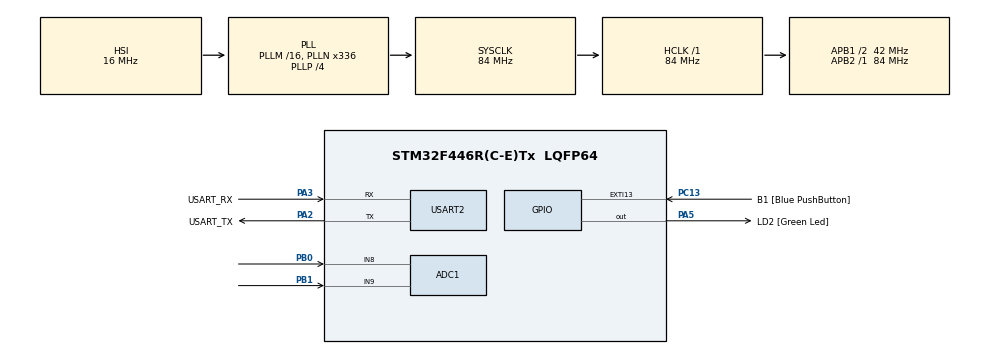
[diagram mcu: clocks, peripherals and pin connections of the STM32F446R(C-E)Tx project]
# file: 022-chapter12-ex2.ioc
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ADC1.Channel-0\#ChannelRegularConversion=ADC_CHANNEL_8
ADC1.NbrOfConversionFlag=1
ADC1.Rank-0\#ChannelRegularConversion=1
ADC1.SamplingTime-0\#ChannelRegularConversion=ADC_SAMPLETIME_3CYCLES
ADC1.master=1
Mcu.Family=STM32F4
Mcu.Name=STM32F446R(C-E)Tx
Mcu.Package=LQFP64
NVIC.PriorityGroup=NVIC_PRIORITYGROUP_0
PA13.GPIO_Label=TMS
PA13.Mode=Serial_Wire
PA13.Signal=SYS_JTMS-SWDIO
PA14.GPIO_Label=TCK
PA14.Mode=Serial_Wire
PA14.Signal=SYS_JTCK-SWCLK
PA2.GPIO_Label=USART_TX
PA2.Mode=Asynchronous
PA2.Signal=USART2_TX
PA3.GPIO_Label=USART_RX
PA3.Mode=Asynchronous
PA3.Signal=USART2_RX
PA5.GPIO_Label=LD2 [Green Led]
PA5.Signal=GPIO_Output
PB0.Signal=ADCx_IN8
PB1.Signal=ADCx_IN9
PB3.GPIO_Label=SWO
PB3.Signal=SYS_JTDO-SWO
PC13.GPIO_Label=B1 [Blue PushButton]
PC13.GPIO_ModeDefaultEXTI=GPIO_MODE_IT_FALLING
PC13.Signal=GPXTI13
PC14-OSC32_IN.Mode=LSE-External-Oscillator
PC14-OSC32_IN.Signal=RCC_OSC32_IN
PC15-OSC32_OUT.Mode=LSE-External-Oscillator
PC15-OSC32_OUT.Signal=RCC_OSC32_OUT
PH0-OSC_IN.Mode=HSE-External-Oscillator
PH0-OSC_IN.Signal=RCC_OSC_IN
PH1-OSC_OUT.Mode=HSE-External-Oscillator
PH1-OSC_OUT.Signal=RCC_OSC_OUT
ProjectManager.HeapSize=0x200
ProjectManager.StackSize=0x400
ProjectManager.TargetToolchain=STM32CubeIDE
RCC.48MHZClocksFreq_Value=84000000
RCC.AHBFreq_Value=84000000
RCC.APB1CLKDivider=RCC_HCLK_DIV2
RCC.APB1Freq_Value=42000000
RCC.APB1TimFreq_Value=84000000
RCC.APB2Freq_Value=84000000
RCC.APB2TimFreq_Value=84000000
RCC.CortexFreq_Value=84000000
RCC.FLatency-AdvancedSettings=FLASH_LATENCY_2
RCC.HCLKFreq_Value=84000000
RCC.HSE_VALUE=8000000
RCC.HSI_VALUE=16000000
RCC.PLLN=336
RCC.PLLP=RCC_PLLP_DIV4
RCC.SYSCLKFreq_VALUE=84000000
RCC.SYSCLKSource=RCC_SYSCLKSOURCE_PLLCLK
RCC.USBFreq_Value=168000000
RCC.VCOOutputFreq_Value=336000000
SH.ADCx_IN8.0=ADC1_IN8,IN8
SH.ADCx_IN9.0=ADC1_IN9,IN9
USART2.VirtualMode=VM_ASYNC
VP_ADC1_TempSens_Input.Mode=IN-TempSens
board=NUCLEO-F446RE

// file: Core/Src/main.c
/* USER CODE BEGIN Header */
/**
 ******************************************************************************
 * @file           : main.c
 * @brief          : Main program body
 ******************************************************************************
 * @attention
 *
 * Copyright (c) 2023 STMicroelectronics.
 * All rights reserved.
 *
 * This software is licensed under terms that can be found in the LICENSE file
 * in the root directory of this software component.
 * If no LICENSE file comes with this software, it is provided AS-IS.
 *
 ******************************************************************************
 */
/* USER CODE END Header */
#include "main.h"
#include <stdio.h>
#include <string.h>

ADC_HandleTypeDef hadc1;

UART_HandleTypeDef huart2;

/* USER CODE BEGIN PV */
DMA_HandleTypeDef hdma_adc1;
char msg[30];
uint16_t rawValues[3];
float temp;
volatile uint8_t convCompleted = 0;
/* USER CODE END PV */

void SystemClock_Config(void);
static void MX_GPIO_Init(void);
static void MX_USART2_UART_Init(void);
static void MX_ADC1_Init(void);

/* USER CODE BEGIN PFP */
static void MX_DMA_Init(void);
/* USER CODE END PFP */

int main(void)
{

  /* MCU Configuration--------------------------------------------------------*/

  /* Reset of all peripherals, Initializes the Flash interface and the Systick. */
  HAL_Init();

  /* Configure the system clock */
  SystemClock_Config();

  /* Initialize all configured peripherals */
  MX_DMA_Init();
  MX_GPIO_Init();
  MX_USART2_UART_Init();
  MX_ADC1_Init();
  /* USER CODE BEGIN 2 */
  HAL_ADC_Start_DMA(&hadc1, (uint32_t *)rawValues, 3);

  while (!convCompleted)
    ;

  HAL_ADC_Stop_DMA(&hadc1);

  for (uint8_t i = 0; i < hadc1.Init.NbrOfConversion; i++)
  {
    temp = ((float)rawValues[i]) / 4095 * 3300;
    temp = ((temp - 760.0) / 2.5) + 25;

    sprintf(msg, "rawValue %d: %hu\r\n", i, rawValues[i]);
    HAL_UART_Transmit(&huart2, (uint8_t *)msg, strlen(msg), HAL_MAX_DELAY);

    sprintf(msg, "Temperature %d: %f\r\n", i, temp);
    HAL_UART_Transmit(&huart2, (uint8_t *)msg, strlen(msg), HAL_MAX_DELAY);
  }
  /* USER CODE END 2 */

  /* Infinite loop */
  while (1)
  {

  }
}

void SystemClock_Config(void)
{
  RCC_OscInitTypeDef RCC_OscInitStruct = {0};
  RCC_ClkInitTypeDef RCC_ClkInitStruct = {0};

  /** Configure the main internal regulator output voltage
   */
  __HAL_RCC_PWR_CLK_ENABLE();
  __HAL_PWR_VOLTAGESCALING_CONFIG(PWR_REGULATOR_VOLTAGE_SCALE3);

  /** Initializes the RCC Oscillators according to the specified parameters
   * in the RCC_OscInitTypeDef structure.
   */
  RCC_OscInitStruct.OscillatorType = RCC_OSCILLATORTYPE_HSI;
  RCC_OscInitStruct.HSIState = RCC_HSI_ON;
  RCC_OscInitStruct.HSICalibrationValue = RCC_HSICALIBRATION_DEFAULT;
  RCC_OscInitStruct.PLL.PLLState = RCC_PLL_ON;
  RCC_OscInitStruct.PLL.PLLSource = RCC_PLLSOURCE_HSI;
  RCC_OscInitStruct.PLL.PLLM = 16;
  RCC_OscInitStruct.PLL.PLLN = 336;
  RCC_OscInitStruct.PLL.PLLP = RCC_PLLP_DIV4;
  RCC_OscInitStruct.PLL.PLLQ = 2;
  RCC_OscInitStruct.PLL.PLLR = 2;
  if (HAL_RCC_OscConfig(&RCC_OscInitStruct) != HAL_OK)
  {
    Error_Handler();
  }

  /** Initializes the CPU, AHB and APB buses clocks
   */
  RCC_ClkInitStruct.ClockType = RCC_CLOCKTYPE_HCLK | RCC_CLOCKTYPE_SYSCLK | RCC_CLOCKTYPE_PCLK1 | RCC_CLOCKTYPE_PCLK2;
  RCC_ClkInitStruct.SYSCLKSource = RCC_SYSCLKSOURCE_PLLCLK;
  RCC_ClkInitStruct.AHBCLKDivider = RCC_SYSCLK_DIV1;
  RCC_ClkInitStruct.APB1CLKDivider = RCC_HCLK_DIV2;
  RCC_ClkInitStruct.APB2CLKDivider = RCC_HCLK_DIV1;

  if (HAL_RCC_ClockConfig(&RCC_ClkInitStruct, FLASH_LATENCY_2) != HAL_OK)
  {
    Error_Handler();
  }
}

static void MX_ADC1_Init(void)
{

  ADC_ChannelConfTypeDef sConfig = {0};

  /** Configure the global features of the ADC (Clock, Resolution, Data Alignment and number of conversion)
   */
  hadc1.Instance = ADC1;
  hadc1.Init.ClockPrescaler = ADC_CLOCK_SYNC_PCLK_DIV8;
  hadc1.Init.Resolution = ADC_RESOLUTION_12B;
  hadc1.Init.ScanConvMode = ENABLE;
  hadc1.Init.ContinuousConvMode = DISABLE;
  hadc1.Init.DiscontinuousConvMode = DISABLE;
  hadc1.Init.ExternalTrigConvEdge = ADC_EXTERNALTRIGCONVEDGE_NONE;
  hadc1.Init.ExternalTrigConv = ADC_SOFTWARE_START;
  hadc1.Init.DataAlign = ADC_DATAALIGN_RIGHT;
  hadc1.Init.NbrOfConversion = 3;
  hadc1.Init.DMAContinuousRequests = DISABLE;
  hadc1.Init.EOCSelection = ADC_EOC_SINGLE_CONV;
  if (HAL_ADC_Init(&hadc1) != HAL_OK)
  {
    Error_Handler();
  }

  /** Configure for the selected ADC regular channel its corresponding rank in the sequencer and its sample time.
   */
  sConfig.Channel = ADC_CHANNEL_8;
  sConfig.Rank = 1;
  sConfig.SamplingTime = ADC_SAMPLETIME_3CYCLES;
  if (HAL_ADC_ConfigChannel(&hadc1, &sConfig) != HAL_OK)
  {
    Error_Handler();
  }
  /* USER CODE BEGIN ADC1_Init 2 */
  sConfig.Channel = ADC_CHANNEL_TEMPSENSOR;
  sConfig.Rank = 1;
  sConfig.SamplingTime = ADC_SAMPLETIME_480CYCLES;
  if (HAL_ADC_ConfigChannel(&hadc1, &sConfig) != HAL_OK)
  {
    Error_Handler();
  }

  sConfig.Rank = 2;
  if (HAL_ADC_ConfigChannel(&hadc1, &sConfig) != HAL_OK)
  {
    Error_Handler();
  }

  sConfig.Rank = 3;
  if (HAL_ADC_ConfigChannel(&hadc1, &sConfig) != HAL_OK)
  {
    Error_Handler();
  }

  // ADC1 DMA Init
  hdma_adc1.Instance = DMA2_Stream0;
  hdma_adc1.Init.Channel = DMA_CHANNEL_0;
  hdma_adc1.Init.Direction = DMA_PERIPH_TO_MEMORY;
  hdma_adc1.Init.PeriphInc = DMA_PINC_DISABLE;
  hdma_adc1.Init.MemInc = DMA_MINC_ENABLE;
  hdma_adc1.Init.PeriphDataAlignment = DMA_PDATAALIGN_HALFWORD;
  hdma_adc1.Init.MemDataAlignment = DMA_MDATAALIGN_HALFWORD;
  hdma_adc1.Init.Mode = DMA_NORMAL;
  hdma_adc1.Init.Priority = DMA_PRIORITY_LOW;
  hdma_adc1.Init.FIFOMode = DMA_FIFOMODE_DISABLE;
  if (HAL_DMA_Init(&hdma_adc1) != HAL_OK)
  {
    Error_Handler();
  }

  __HAL_LINKDMA(&hadc1, DMA_Handle, hdma_adc1);
  /* USER CODE END ADC1_Init 2 */
}

static void MX_USART2_UART_Init(void)
{

  huart2.Instance = USART2;
  huart2.Init.BaudRate = 115200;
  huart2.Init.WordLength = UART_WORDLENGTH_8B;
  huart2.Init.StopBits = UART_STOPBITS_1;
  huart2.Init.Parity = UART_PARITY_NONE;
  huart2.Init.Mode = UART_MODE_TX_RX;
  huart2.Init.HwFlowCtl = UART_HWCONTROL_NONE;
  huart2.Init.OverSampling = UART_OVERSAMPLING_16;
  if (HAL_UART_Init(&huart2) != HAL_OK)
  {
    Error_Handler();
  }
}

static void MX_GPIO_Init(void)
{
  GPIO_InitTypeDef GPIO_InitStruct = {0};

  /* GPIO Ports Clock Enable */
  __HAL_RCC_GPIOC_CLK_ENABLE();
  __HAL_RCC_GPIOH_CLK_ENABLE();
  __HAL_RCC_GPIOA_CLK_ENABLE();
  __HAL_RCC_GPIOB_CLK_ENABLE();

  /*Configure GPIO pin Output Level */
  HAL_GPIO_WritePin(LD2_GPIO_Port, LD2_Pin, GPIO_PIN_RESET);

  /*Configure GPIO pin : B1_Pin */
  GPIO_InitStruct.Pin = B1_Pin;
  GPIO_InitStruct.Mode = GPIO_MODE_IT_FALLING;
  GPIO_InitStruct.Pull = GPIO_NOPULL;
  HAL_GPIO_Init(B1_GPIO_Port, &GPIO_InitStruct);

  /*Configure GPIO pin : LD2_Pin */
  GPIO_InitStruct.Pin = LD2_Pin;
  GPIO_InitStruct.Mode = GPIO_MODE_OUTPUT_PP;
  GPIO_InitStruct.Pull = GPIO_NOPULL;
  GPIO_InitStruct.Speed = GPIO_SPEED_FREQ_LOW;
  HAL_GPIO_Init(LD2_GPIO_Port, &GPIO_InitStruct);

}

/* USER CODE BEGIN 4 */
void HAL_ADC_ConvCpltCallback(ADC_HandleTypeDef *hadc)
{
  convCompleted = 1;
}

static void MX_DMA_Init(void) {
  /* DMA controller clock enable */
  __HAL_RCC_DMA2_CLK_ENABLE();

  /* DMA interrupt init */
  /* DMA2_Stream0_IRQn interrupt configuration */
  HAL_NVIC_SetPriority(DMA2_Stream0_IRQn, 1, 0);
  HAL_NVIC_EnableIRQ(DMA2_Stream0_IRQn);
}

void DMA2_Stream0_IRQHandler(void) {
  HAL_DMA_IRQHandler(&hdma_adc1);
}
/* USER CODE END 4 */

void Error_Handler(void)
{
  __disable_irq();
  while (1)
  {
  }
}
